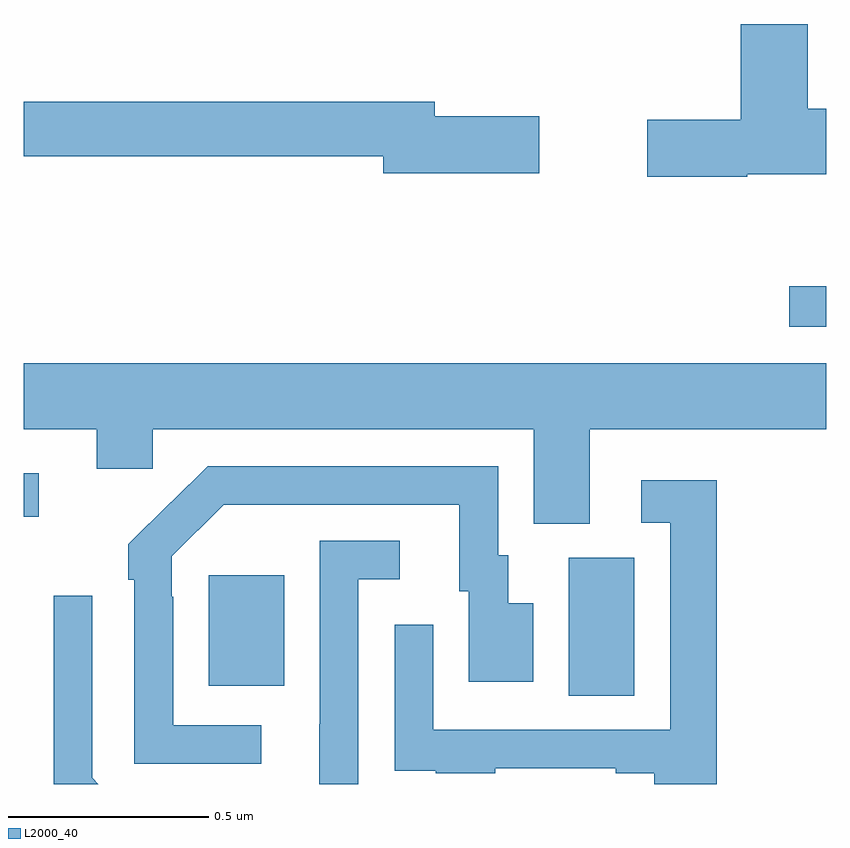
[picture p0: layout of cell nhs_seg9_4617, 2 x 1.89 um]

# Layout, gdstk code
import gdstk
lib = gdstk.Library(unit=1e-6, precision=1e-09)
def R(c, l, rs):  # rectangles x0, y0, x1, y1
    for r in rs: c.add(gdstk.rectangle(r[:2], r[2:], *l))
def P(c, l, *ps):  # polygons
    for p in ps: c.add(gdstk.Polygon(p, *l))
L2000_40 = (2000, 40)

nhs_seg9_4617 = lib.new_cell('nhs_seg9_4617')
R(nhs_seg9_4617, L2000_40, [(169.358,1231.72,169.522,1232.064), (168.461,1231.745,168.649,1232.02), (168,1232.166,168.037,1232.274), (169.908,1232.64,170,1232.741)])
P(nhs_seg9_4617, L2000_40, [(169.803,1233.02),(170,1233.02),(170,1233.183),(169.954,1233.183),(169.954,1233.394),(169.787,1233.394),(169.787,1233.155),(169.554,1233.155),(169.554,1233.013),(169.803,1233.013)],
  [(169.285,1233.164),(169.024,1233.164),(169.024,1233.2),(168,1233.2),(168,1233.064),(168.896,1233.064),(168.896,1233.022),(169.285,1233.022)],
  [(169.411,1232.384),(170,1232.384),(170,1232.548),(168,1232.548),(168,1232.384),(168.182,1232.384),(168.182,1232.286),(168.321,1232.286),(168.321,1232.384),(169.271,1232.384),(169.271,1232.149),(169.411,1232.149)],
  [(168.592,1231.647),(168.372,1231.647),(168.372,1231.967),(168.369,1231.967),(168.369,1232.067),(168.498,1232.196),(169.085,1232.196),(169.085,1231.98),(169.109,1231.98),(169.109,1231.755),(169.27,1231.755),(169.27,1231.951),(169.207,1231.951),(169.207,1232.07),(169.182,1232.07),(169.182,1232.292),(168.458,1232.292),(168.367,1232.201),(168.366,1232.202),(168.261,1232.097),(168.261,1232.009),(168.276,1232.009),(168.276,1231.551),(168.592,1231.551)],
  [(169.727,1232.257),(169.539,1232.257),(169.539,1232.151),(169.611,1232.151),(169.611,1231.635),(169.02,1231.635),(169.02,1231.897),(168.924,1231.897),(168.924,1231.642),(168.925,1231.642),(168.925,1231.533),(169.027,1231.533),(169.027,1231.527),(169.175,1231.527),(169.175,1231.539),(169.475,1231.539),(169.475,1231.527),(169.571,1231.527),(169.571,1231.5),(169.727,1231.5)],
  [(168.834,1232.01),(168.937,1232.01),(168.937,1232.106),(168.738,1232.106),(168.738,1231.649),(168.737,1231.649),(168.737,1231.5),(168.834,1231.5)],
  [(168.171,1231.515),(168.171,1231.969),(168.075,1231.969),(168.075,1231.5),(168.186,1231.5)])

lib.write_gds('nhs_seg9_4617.gds')
